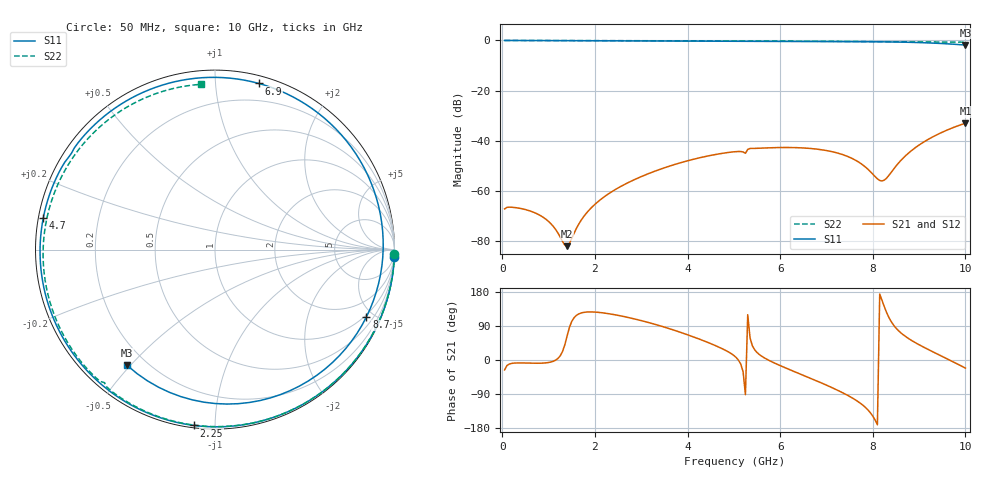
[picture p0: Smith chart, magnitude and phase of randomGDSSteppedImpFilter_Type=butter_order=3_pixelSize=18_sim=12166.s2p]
! freq	dB(S11)	phase(S11)	dB(S12)	phase(S12)
!  dB(S21)	phase(S21)	dB(S22)	phase(S22)
!S-par simulation data
#  GHz  S  DB  R 50
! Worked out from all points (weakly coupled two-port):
!   200 points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, 50 MHz to 10 GHz, reference 50 ohm
!   highest |S21| = -33.06 dB at 10 GHz (marker M1); lowest = -82.1 dB at 1.4 GHz (marker M2)
!   lowest |S11| = -1.8 dB at 10 GHz (marker M3), VSWR 9.50, Z = 6.54 - j24.4 ohm
!   |S11| at or under -10 dB: nowhere
!   |S22| runs from -0.7 to 0.0 dB; largest |S21 - S12| = 0
!   S11 on the Smith chart (normalised r, x): 50 MHz: 0, -50; 2.25 GHz: 0.01, -0.89; 4.7 GHz: 0.01, +0.09; 6.9 GHz: 0.06, +1.30; 8.7 GHz: 0.89, -4.53; 10 GHz: 0.13, -0.49
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0.05  -0.00 -2.3  -67.28 -26.2  -67.28 -26.2  -0.00 -1.3
0.75  -0.04 -33.8  -69.22 -8.5  -69.22 -8.5  -0.02 -19.7
1.05  -0.06 -46.9  -73.19 -5.3  -73.19 -5.3  -0.04 -27.5
1.3  -0.07 -57.7  -80.22 22.1  -80.22 22.1  -0.04 -34.0
1.4  -0.08 -61.9  -82.15 63.6  -82.15 63.6  -0.05 -36.5
1.5  -0.08 -66.1  -79.02 101.8  -79.02 101.8  -0.05 -39.1
1.75  -0.09 -76.6  -70.54 125.4  -70.54 125.4  -0.06 -45.4
2.25  -0.12 -96.9  -61.79 123.1  -61.79 123.1  -0.07 -57.9
3.4  -0.17 -141.2  -51.50 90.5  -51.50 90.5  -0.11 -85.9
4.05  -0.20 -165.6  -47.81 64.4  -47.81 64.4  -0.14 -101.2
4.7  -0.24 169.6  -45.23 32.7  -45.23 32.7  -0.17 -116.3
5.05  -0.26 155.9  -44.39 6.6  -44.39 6.6  -0.19 -124.5
5.95  -0.32 118.8  -42.77 -12.1  -42.77 -12.1  -0.25 -145.4
6.7  -0.36 84.9  -43.21 -50.6  -43.21 -50.6  -0.31 -163.6
6.9  -0.38 75.3  -43.66 -61.0  -43.66 -61.0  -0.33 -168.6
7.6  -0.44 39.6  -47.55 -103.3  -47.55 -103.3  -0.40 173.0
8.15  -0.53 9.2  -55.90 174.1  -55.90 174.1  -0.47 157.5
8.35  -0.58 -2.5  -53.83 111.8  -53.83 111.8  -0.49 151.5
8.7  -0.69 -24.0  -46.17 62.7  -46.17 62.7  -0.53 140.7
9.45  -1.18 -77.4  -37.07 12.5  -37.07 12.5  -0.62 115.4
9.75  -1.51 -103.1  -34.68 -5.7  -34.68 -5.7  -0.66 104.5
10  -1.84 -127.3  -33.06 -21.4  -33.06 -21.4  -0.69 95.0
